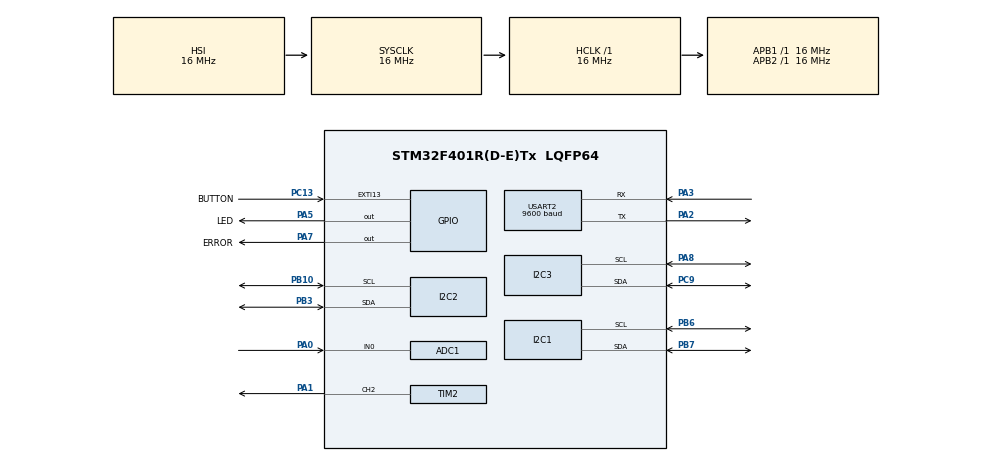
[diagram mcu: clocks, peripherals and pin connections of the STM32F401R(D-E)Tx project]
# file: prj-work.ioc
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ADC1.Channel-0\#ChannelRegularConversion=ADC_CHANNEL_0
ADC1.ContinuousConvMode=DISABLE
ADC1.DMAContinuousRequests=ENABLE
ADC1.EOCSelection=ADC_EOC_SEQ_CONV
ADC1.ExternalTrigConv=ADC_EXTERNALTRIGCONV_T3_TRGO
ADC1.ExternalTrigConvEdge=ADC_EXTERNALTRIGCONVEDGE_RISING
ADC1.NbrOfConversion=1
ADC1.NbrOfConversionFlag=1
ADC1.Rank-0\#ChannelRegularConversion=1
ADC1.SamplingTime-0\#ChannelRegularConversion=ADC_SAMPLETIME_3CYCLES
ADC1.master=1
Dma.ADC1.0.Direction=DMA_PERIPH_TO_MEMORY
Dma.ADC1.0.FIFOMode=DMA_FIFOMODE_DISABLE
Dma.ADC1.0.Instance=DMA2_Stream0
Dma.ADC1.0.MemDataAlignment=DMA_MDATAALIGN_WORD
Dma.ADC1.0.MemInc=DMA_MINC_ENABLE
Dma.ADC1.0.Mode=DMA_CIRCULAR
Dma.ADC1.0.PeriphDataAlignment=DMA_PDATAALIGN_WORD
Dma.ADC1.0.PeriphInc=DMA_PINC_DISABLE
Dma.ADC1.0.Priority=DMA_PRIORITY_LOW
Dma.Request0=ADC1
Mcu.Family=STM32F4
Mcu.Name=STM32F401R(D-E)Tx
Mcu.Package=LQFP64
NVIC.ADC_IRQn=true\:0\:0\:true\:false\:true\:true\:true\:true
NVIC.DMA2_Stream0_IRQn=true\:0\:0\:false\:false\:true\:false\:true\:true
NVIC.EXTI15_10_IRQn=true\:0\:0\:false\:false\:true\:true\:true\:true
NVIC.PriorityGroup=NVIC_PRIORITYGROUP_1
NVIC.TIM1_UP_TIM10_IRQn=true\:1\:0\:true\:false\:true\:true\:true\:true
NVIC.TIM2_IRQn=true\:0\:0\:false\:false\:true\:true\:true\:true
NVIC.TIM3_IRQn=true\:0\:0\:false\:false\:true\:true\:true\:true
NVIC.USART2_IRQn=true\:1\:0\:true\:false\:true\:true\:true\:true
PA0-WKUP.Signal=ADCx_IN0
PA1.Signal=S_TIM2_CH2
PA2.Mode=Asynchronous
PA2.Signal=USART2_TX
PA3.Mode=Asynchronous
PA3.Signal=USART2_RX
PA5.GPIO_Label=LED
PA5.Signal=GPIO_Output
PA7.GPIO_Label=ERROR
PA7.Signal=GPIO_Output
PA8.Mode=I2C
PA8.Signal=I2C3_SCL
PB10.Mode=I2C
PB10.Signal=I2C2_SCL
PB3.Mode=I2C
PB3.Signal=I2C2_SDA
PB6.Mode=I2C
PB6.Signal=I2C1_SCL
PB7.Mode=I2C
PB7.Signal=I2C1_SDA
PC13-ANTI_TAMP.GPIO_Label=BUTTON
PC13-ANTI_TAMP.Signal=GPXTI13
PC9.Mode=I2C
PC9.Signal=I2C3_SDA
ProjectManager.HeapSize=0x200
ProjectManager.StackSize=0x400
ProjectManager.TargetToolchain=STM32CubeIDE
RCC.48MHZClocksFreq_Value=48000000
RCC.AHBFreq_Value=16000000
RCC.APB1Freq_Value=16000000
RCC.APB1TimFreq_Value=16000000
RCC.APB2Freq_Value=16000000
RCC.APB2TimFreq_Value=16000000
RCC.CortexFreq_Value=16000000
RCC.HCLKFreq_Value=16000000
RCC.HSE_VALUE=8000000
RCC.HSI_VALUE=16000000
RCC.LSE_VALUE=32768
RCC.PLLN=336
RCC.PLLP=RCC_PLLP_DIV4
RCC.PLLQ=7
RCC.SYSCLKFreq_VALUE=16000000
RCC.VCOOutputFreq_Value=336000000
SH.ADCx_IN0.0=ADC1_IN0,IN0
SH.S_TIM2_CH2.0=TIM2_CH2,PWM Generation2 CH2
TIM10.Period=999
TIM10.Prescaler=159
TIM2.AutoReloadPreload=TIM_AUTORELOAD_PRELOAD_ENABLE
TIM2.Channel-PWM\ Generation2\ CH2=TIM_CHANNEL_2
TIM2.Period=999
TIM2.Prescaler=159
TIM2.Pulse-PWM\ Generation2\ CH2=499
TIM2.TIM_MasterOutputTrigger=TIM_TRGO_RESET
TIM2.TIM_MasterSlaveMode=TIM_MASTERSLAVEMODE_DISABLE
TIM3.AutoReloadPreload=TIM_AUTORELOAD_PRELOAD_ENABLE
TIM3.Period=999
TIM3.Prescaler=15999
TIM3.TIM_MasterOutputTrigger=TIM_TRGO_UPDATE
TIM3.TIM_MasterSlaveMode=TIM_MASTERSLAVEMODE_ENABLE
USART2.BaudRate=9600
USART2.VirtualMode=VM_ASYNC
VP_TIM10_VS_ClockSourceINT.Mode=Enable_Timer
VP_TIM3_VS_ClockSourceINT.Mode=Internal
board=NUCLEO-F401RE

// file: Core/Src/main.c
/* USER CODE BEGIN Header */
/**
 ******************************************************************************
 * @file           : main.c
 * @brief          : Main program body
 ******************************************************************************
 * @attention
 *
 * Copyright (c) 2023 STMicroelectronics.
 * All rights reserved.
 *
 * This software is licensed under terms that can be found in the LICENSE file
 * in the root directory of this software component.
 * If no LICENSE file comes with this software, it is provided AS-IS.
 *
 ******************************************************************************
 */
/* USER CODE END Header */
#include "main.h"
#include "adc.h"
#include "dma.h"
#include "i2c.h"
#include "tim.h"
#include "usart.h"
#include "gpio.h"

/* USER CODE BEGIN Includes */
#include <stdio.h>
#include <string.h>
#include <time.h>

#include "hal_utils.h"

#include "b3950.h"
#include "ds1307rtc.h"
#include "ssd1306.h"
#include "max32664.h"
/* USER CODE END Includes */

/* USER CODE BEGIN PV */
GPIO_Line PC0 = { .port = GPIOC, .pin = GPIO_PIN_0 };
GPIO_Line PC1 = { .port = GPIOC, .pin = GPIO_PIN_1 };
/* USER CODE END PV */

void SystemClock_Config(void);

/* USER CODE BEGIN 0 */
B3950_Handle *temp_sens;
MAX32664_Handle *pox;

// conditions
uint8_t flag_enable = 0;
uint8_t flag_finger_on_p = 0;
uint8_t flag_high_hr = 0;

// state
MachineState state = MS_IDLE;

// other
uint8_t oled_written = 0;
uint8_t led_dir = 0;
uint32_t led_pulse = 0;

// data
uint32_t measureCount = 0;
uint32_t timeCount = 0;
uint32_t cicleCount = 0;
MachineData average;
MachineData maximum;
MachineData minimum;
char buf[1] = { '\0' };
/* USER CODE END 0 */

int main(void) {

	/* MCU Configuration--------------------------------------------------------*/

	/* Reset of all peripherals, Initializes the Flash interface and the Systick. */
	HAL_Init();

	/* Configure the system clock */
	SystemClock_Config();

	/* Initialize all configured peripherals */
	MX_GPIO_Init();
	MX_DMA_Init();
	MX_ADC1_Init();
	MX_I2C1_Init();
	MX_I2C2_Init();
	MX_I2C3_Init();
	MX_TIM2_Init();
	MX_USART2_UART_Init();
	MX_TIM10_Init();
	MX_TIM3_Init();
	/* USER CODE BEGIN 2 */
	USART_PRINT("\r\nSystem init...");

	uint32_t adc_buffer[1];
	HAL_ADC_Start_DMA(&hadc1, adc_buffer, 1);
	HAL_TIM_Base_Start_IT(&htim3);
	HAL_TIM_Base_Start_IT(&htim10);

	// devices creation
	temp_sens = B3950_Init(adc_buffer);
	pox = MAX32664(&hi2c1, &PC0, &PC1, 0x55);

	// devices init/start
	ssd1306_Init();
	ds1307rtc_init();
	MAX32664_Begin(pox);

	date_time_t dt = { .year = 23, .month = 6, .date = 12, .hours = 8,
			.minutes = 21, .seconds = 0 };
	ds1307rtc_set_date_time(&dt);

	date_time_t test;
	ds1307rtc_get_date_time(&test);
	USART_PRINT("\r\nDatetime: %u/%u/%d %u:%u:%u", test.date, test.month,
			(int )test.year, test.hours, test.minutes, test.seconds);

	uint8_t error = MAX32664_ConfigBpm(pox, MODE_ONE); // Configuring just the BPM settings.
	if (error == SB_SUCCESS) {
		USART_PRINT("\r\nSensor configured correctly");
	} else {
		USART_PRINT("\r\nError during configuration with status code %u", error);
	}

	// Data lags a bit behind the sensor, if you're finger is on the sensor when
	// it's being configured this delay will give some time for the data to catch
	// up.
	USART_PRINT("\r\nLoading sensor data...");
	HAL_Delay(4000);
	USART_PRINT("\r\nOk, sensor ready");
	/* USER CODE END 2 */

	/* Infinite loop */
	/* USER CODE BEGIN WHILE */
	while (1) {
		switch (state) {
		case MS_WAIT: {
			bioData poxData = MAX32664_ReadBpm(pox);
			flag_finger_on_p = (poxData.status == 3);
			if (flag_finger_on_p) {
				ssd1306_Fill(Black);
				ssd1306_SetCursor(0, 0);
				ssd1306_WriteString("Measuring", Font_7x10, White);
				ssd1306_UpdateScreen();
				USART_PRINT("\r\nOk, measuring");
				state = MS_MEASURE;
			}
			break;
		}
		case MS_MEASURE: {
			bioData poxData = MAX32664_ReadBpm(pox);
			if ((float) poxData.heartRate < 10.0
					|| (float) poxData.oxygen < 10.0)
				break;
			float tmp = B3950_Read(temp_sens);
			average.oxygen += poxData.oxygen;
			average.heartRate += poxData.heartRate;
			average.confidence += poxData.confidence;
			average.temperature += tmp;

			if (poxData.heartRate > maximum.heartRate)
				maximum.heartRate = poxData.heartRate;
			if (poxData.heartRate < minimum.heartRate)
				minimum.heartRate = poxData.heartRate;

			if (poxData.oxygen > maximum.oxygen)
				maximum.oxygen = poxData.oxygen;
			if (poxData.oxygen < minimum.oxygen)
				minimum.oxygen = poxData.oxygen;

			if (poxData.confidence > maximum.confidence)
				maximum.confidence = poxData.confidence;
			if (poxData.confidence < minimum.confidence)
				minimum.confidence = poxData.confidence;

			if (tmp > maximum.temperature)
				maximum.temperature = tmp;
			if (tmp < minimum.temperature)
				minimum.temperature = tmp;

			measureCount += 1;
			break;
		}
		default:
			break;
		}

		// pox sensor delay
		HAL_Delay(40);
	}
	/* USER CODE END WHILE */

}

void SystemClock_Config(void) {
	RCC_OscInitTypeDef RCC_OscInitStruct = { 0 };
	RCC_ClkInitTypeDef RCC_ClkInitStruct = { 0 };

	/** Configure the main internal regulator output voltage
	 */
	__HAL_RCC_PWR_CLK_ENABLE();
	__HAL_PWR_VOLTAGESCALING_CONFIG(PWR_REGULATOR_VOLTAGE_SCALE2);

	/** Initializes the RCC Oscillators according to the specified parameters
	 * in the RCC_OscInitTypeDef structure.
	 */
	RCC_OscInitStruct.OscillatorType = RCC_OSCILLATORTYPE_HSI;
	RCC_OscInitStruct.HSIState = RCC_HSI_ON;
	RCC_OscInitStruct.HSICalibrationValue = RCC_HSICALIBRATION_DEFAULT;
	RCC_OscInitStruct.PLL.PLLState = RCC_PLL_NONE;
	if (HAL_RCC_OscConfig(&RCC_OscInitStruct) != HAL_OK) {
		Error_Handler();
	}

	/** Initializes the CPU, AHB and APB buses clocks
	 */
	RCC_ClkInitStruct.ClockType = RCC_CLOCKTYPE_HCLK | RCC_CLOCKTYPE_SYSCLK
			| RCC_CLOCKTYPE_PCLK1 | RCC_CLOCKTYPE_PCLK2;
	RCC_ClkInitStruct.SYSCLKSource = RCC_SYSCLKSOURCE_HSI;
	RCC_ClkInitStruct.AHBCLKDivider = RCC_SYSCLK_DIV1;
	RCC_ClkInitStruct.APB1CLKDivider = RCC_HCLK_DIV1;
	RCC_ClkInitStruct.APB2CLKDivider = RCC_HCLK_DIV1;

	if (HAL_RCC_ClockConfig(&RCC_ClkInitStruct, FLASH_LATENCY_0) != HAL_OK) {
		Error_Handler();
	}
}

/* USER CODE BEGIN 4 */
void HAL_ADC_ConvCpltCallback(ADC_HandleTypeDef *hadc) {
	if (hadc->Instance == ADC1) {
	}
}

void HAL_TIM_PeriodElapsedCallback(TIM_HandleTypeDef *htim) {

	if (htim == &htim10) {

		if (state == MS_MEASURE) {
			if (__EXPIRED(timeCount, MAX_MEASURE_TIME)) {
				timeCount = 0;
				state = MS_END;
				date_time_t curr = { 0 };
				ds1307rtc_get_date_time(&curr);
				USART_PRINT("\r\nReport [%d-%d-%dT%d:%d:%d]", curr.year,
						curr.month, curr.date, curr.hours, curr.minutes,
						curr.seconds);
				if (measureCount < OPT_MEASURES) {
					USART_PRINT("\r\nobtained %lu/%lu good samples -> discard",
							measureCount, (uint32_t)OPT_MEASURES);
				} else {
					USART_PRINT("\r\nobtained %lu/%lu good samples -> accept",
							measureCount, (uint32_t)OPT_MEASURES);
				}

				if (measureCount < OPT_MEASURES) {
					state = MS_ERROR;
					HAL_GPIO_WritePin(GPIOA, GPIO_PIN_7, GPIO_PIN_SET);
					ssd1306_Fill(Black);
					ssd1306_SetCursor(0, 0);
					ssd1306_WriteString("Invalid measure", Font_7x10, White);
					ssd1306_SetCursor(0, 15);
					ssd1306_WriteString("Repeat", Font_7x10, White);
					ssd1306_SetCursor(0, 0);
					ssd1306_UpdateScreen();
					return;
				}

				average.oxygen /= measureCount;
				average.heartRate /= measureCount;
				average.confidence /= measureCount;
				average.temperature /= measureCount;

				USART_PRINT("\r\nHr: %.1f, Ox: %.0f, Conf: %.0f, T: %.1f",
						(float )average.heartRate, (float )average.oxygen,
						average.confidence, average.temperature);

				// uncertainty computation
				MachineData unc;
				// max errors
				unc.heartRate = (maximum.heartRate - minimum.heartRate) / 2;
				unc.oxygen = (maximum.oxygen - minimum.oxygen) / 2;
				unc.temperature = (maximum.temperature - minimum.temperature) / 2;

				unc.heartRate = unc.heartRate / average.heartRate;
				unc.oxygen = unc.oxygen / average.oxygen;
				unc.temperature = unc.temperature / average.temperature;

				if (unc.heartRate <= MIN_UNCERT_THRES
						|| unc.oxygen <= MIN_UNCERT_THRES
						|| unc.temperature <= MIN_UNCERT_THRES) {
					state = MS_ERROR;
					HAL_GPIO_WritePin(GPIOA, GPIO_PIN_7, GPIO_PIN_SET);
					ssd1306_Fill(Black);
					ssd1306_SetCursor(0, 0);
					ssd1306_WriteString("Invalid measure", Font_7x10, White);
					ssd1306_SetCursor(0, 15);
					ssd1306_WriteString("Repeat", Font_7x10, White);
					ssd1306_SetCursor(0, 0);
					ssd1306_UpdateScreen();
					return;
				}

				if (average.heartRate > HIGH_HR_THRES) {
					state = MS_EXERCISE;
					USART_PRINT("\r\nBreath exercise mode");
					ssd1306_Fill(Black);
					ssd1306_SetCursor(0, 0);
					ssd1306_WriteString("Exercise mode", Font_7x10, White);
					ssd1306_UpdateScreen();
					HAL_TIM_PWM_Start(&htim2, TIM_CHANNEL_2);
					return;
				}
				if (average.oxygen < LOW_OXY_THRES
						&& average.temperature > HIGH_TEMP_THRES) {
					state = MS_COVID_19;
					ssd1306_Fill(Black);
					ssd1306_SetCursor(0, 0);
					ssd1306_WriteString("Take a COVID test", Font_7x10, White);
					ssd1306_UpdateScreen();
					return;
				}

				// write pox data
				char hr[30];
				char ox[30];
				char cf[30];
				char tmp_msg[30];
				sprintf(hr, "Hr: %.1f bpm", average.heartRate);
				sprintf(ox, "Ox: %.0f perc", average.oxygen);
				sprintf(cf, "Cf: %.0f perc", average.confidence);
				sprintf(tmp_msg, "T: %.1f C", average.temperature);
				ssd1306_Fill(Black);
				ssd1306_SetCursor(0, 0);
				ssd1306_WriteString(hr, Font_7x10, White);
				ssd1306_SetCursor(0, 15);
				ssd1306_WriteString(ox, Font_7x10, White);
				ssd1306_SetCursor(0, 30);
				ssd1306_WriteString(cf, Font_7x10, White);
				ssd1306_SetCursor(0, 45);
				ssd1306_WriteString(tmp_msg, Font_7x10, White);
				ssd1306_SetCursor(0, 0);
				ssd1306_UpdateScreen();
			}

			else {
				timeCount += 1;
			}
			return;
		}

		if (state == MS_EXERCISE) {
			if (__EXPIRED(timeCount, EXERCISE_TIME)) {
				timeCount = 0;
				HAL_TIM_PWM_Stop(&htim2, TIM_CHANNEL_2);
				state = MS_WAIT;
				return;
			}

			if (led_dir == 0)
				led_pulse += 4;
			else
				led_pulse -= 4;

			if ((led_pulse == 0) || (led_pulse >= 999))
				led_dir = !led_dir;

			__HAL_TIM_SET_COMPARE(&htim2, TIM_CHANNEL_2, led_pulse);
			timeCount += 1;
			return;
		}

		if (state == MS_ERROR || state == MS_COVID_19) {
			if (timeCount == PAUSE_TIME * 100) {
				timeCount = 0;
				HAL_GPIO_WritePin(GPIOA, GPIO_PIN_7, GPIO_PIN_RESET);
				state = MS_WAIT;
				return;
			}

			timeCount += 1;
		}
	}
}

void HAL_GPIO_EXTI_Callback(uint16_t GPIO_Pin) {
	if (GPIO_Pin == GPIO_PIN_13) {
		if (state == MS_IDLE) {
			USART_PRINT("\r\nDevice is on");
			state = MS_WAIT;
			ssd1306_Fill(Black);
			ssd1306_WriteString("Put finger", Font_7x10, White);
			ssd1306_SetCursor(0, 15);
			ssd1306_WriteString("on sensors", Font_7x10, White);
			ssd1306_UpdateScreen();
		}
	}
}
/* USER CODE END 4 */

void Error_Handler(void) {
	__disable_irq();
	while (1) {
	}
}
